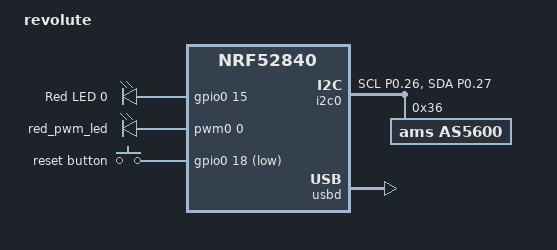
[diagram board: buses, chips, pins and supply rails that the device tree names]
/*
 * Copyright (c) 2022 Nikola Trifunovic
 * Copyright (c) 2018 Nordic Semiconductor ASA
 * Copyright (c) 2017 Linaro Limited
 *
 * SPDX-License-Identifier: Apache-2.0
 */

/dts-v1/;
#include <nordic/nrf52840_qiaa.dtsi>


/ {
	model = "revolute";
	compatible = "revolute";

	chosen {

		zephyr,console = &uart0;
		zephyr,shell-uart = &uart0;
		zephyr,uart-mcumgr = &uart0;
		zephyr,sram = &sram0;
		zephyr,flash = &flash0;
		zephyr,code-partition = &slot0_partition;

	};

	leds {
		compatible = "gpio-leds";
		led0_red: led_0 {
			gpios = <&gpio0 15 GPIO_ACTIVE_HIGH>;
			label = "Red LED 0";
		};
	
	};

	pwmleds {
		compatible = "pwm-leds";
		red_pwm_led: pwm_led_0 {
			pwms = <&pwm0 0 PWM_MSEC(20) PWM_POLARITY_INVERTED>;
		};
	
	};

 	buttons {
 	compatible = "gpio-keys";
	reset_button: button_0 {
 		gpios = <&gpio0 18 (GPIO_PULL_UP | GPIO_ACTIVE_LOW)>;
 		label = "reset button";
 	};
	};

	/* These aliases are provided for compatibility with samples */
	aliases {
		led0 = &led0_red;
		led0-red   = &led0_red;	
		pwm-led0 = &red_pwm_led;
		red-pwm-led = &red_pwm_led;	

	};
};

&gpiote {
	status = "okay";
};

&gpio0 {
	status = "okay";
};

&gpio1 {
	status = "okay";
};






&i2c0 {

	status = "okay";
	pinctrl-0 = <&i2c0_default>;
	pinctrl-names = "default";
	// pinctrl-0 = <&i2c0_default>;
	// pinctrl-1 = <&i2c0_sleep>;
	// pinctrl-names = "default", "sleep";
	//reg = <0x40003000 0x1000>;
	as5600: as5600@36 {
		compatible = "ams,as5600";
		
		reg = <0x36>;
		status = "okay";
	};
};


&pinctrl {
	i2c0_default: i2c0_default {
		group1 {
			psels = <NRF_PSEL(TWIM_SCL, 0,26)>, <NRF_PSEL(TWIM_SDA, 0, 27)>;
		};
	};
};


#include "fstab-stock.dts"

zephyr_udc0: &usbd {
	compatible = "nordic,nrf-usbd";
	status = "okay";
};
